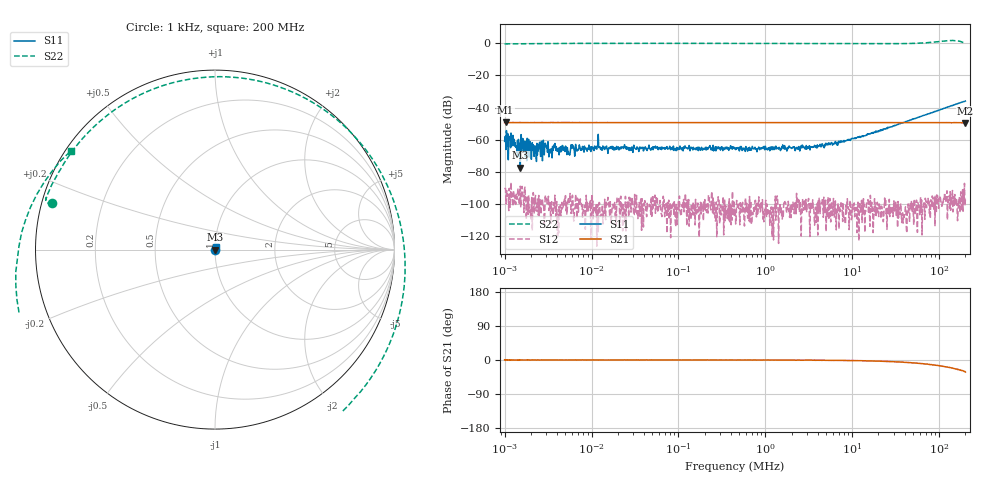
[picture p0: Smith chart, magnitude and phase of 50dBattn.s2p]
! ListType=Log
# MHZ S RI R 50
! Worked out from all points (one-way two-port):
!   1000 points, 1 kHz to 200 MHz, reference 50 ohm
!   highest |S21| = -49.21 dB at 1.025 kHz (marker M1); lowest = -49.6 dB at 200 MHz (marker M2)
!   lowest |S11| = -77.4 dB at 1.515 kHz (marker M3), VSWR 1.00, Z = 50 + j0.00457 ohm
!   |S11| at or under -10 dB: start of sweep to end of sweep
!   |S22| runs from -0.5 to 1.7 dB; largest |S21 - S12| = 0.0035
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0.001  -0.000843 0.000291  0.00342 1.25e-05  -1.15e-05 -2.99e-05  -0.9089 0.26
0.0010247  -0.000248 0.00126  0.00346 4.6e-05  -1.57e-05 2.66e-05  -0.9096 0.2591
0.001515  0.000128 4.57e-05  0.00345 -2.83e-05  2.7e-05 2.41e-05  -0.919 0.2573
0.0029666  -0.000733 2.62e-05  0.00343 -7.9e-06  1.31e-05 -6.5e-06  -0.934 0.2623
0.0033934  -0.000356 0.000161  0.00344 2.8e-06  1.4e-06 2.1e-06  -0.9363 0.2643
0.0037878  -0.00075 -0.000168  0.00341 2.42e-05  9e-07 -1.91e-05  -0.9375 0.266
0.0053985  -0.00041 -0.000148  0.00343 -1.1e-06  -1.31e-05 -7.3e-06  -0.9408 0.2713
0.0076941  -0.000472 5.5e-06  0.00342 -1.12e-05  -2.1e-06 8.4e-06  -0.9422 0.2759
0.0584804  -0.000492 1.5e-05  0.00342 -6.2e-06  1.1e-06 -7.5e-06  -0.9406 0.2882
0.4499541  -0.000542 2.98e-05  0.00343 -1.4e-05  1.8e-06 7.1e-06  -0.9349 0.303
3.419952  -0.000518 0.000282  0.00342 -2.91e-05  -1.8e-06 -7.2e-06  -0.8867 0.4028
12.03851  -0.000338 0.00115  0.00341 -9.94e-05  -7.5e-06 -3e-07  -0.7122 0.6466
26.31347  -0.000139 0.0024  0.00342 -0.000246  3.6e-06 -3.5e-06  -0.3118 0.9064
50.9003  0.000171 0.00449  0.00338 -0.000458  -1e-07 -2.3e-06  0.4925 0.8486
64.99008  0.000559 0.0056  0.00336 -0.000587  6e-06 -3.9e-06  0.8567 0.5339
81.97236  0.000946 0.00686  0.00334 -0.000718  5.3e-06 -7.1e-06  1.057 -0.0223
103.3922  0.00159 0.00846  0.00329 -0.000913  -9.6e-06 -1.12e-05  0.8402 -0.7545
128.8255  0.00242 0.0104  0.00321 -0.00113  -1.25e-05 -1.01e-05  0.0311 -1.195
145.5678  0.00291 0.0114  0.00316 -0.00127  5.8e-06 -1.22e-05  -0.5687 -1.06
164.4859  0.0036 0.0129  0.00309 -0.00142  4.6e-06 -3.3e-06  -1.028 -0.5582
179.1732  0.00435 0.0139  0.00298 -0.00154  -1.87e-05 -8.8e-06  -1.102 -0.0581
200  0.00519 0.015  0.00282 -0.00174  -1.29e-05 -6.6e-06  -0.8026 0.5506
